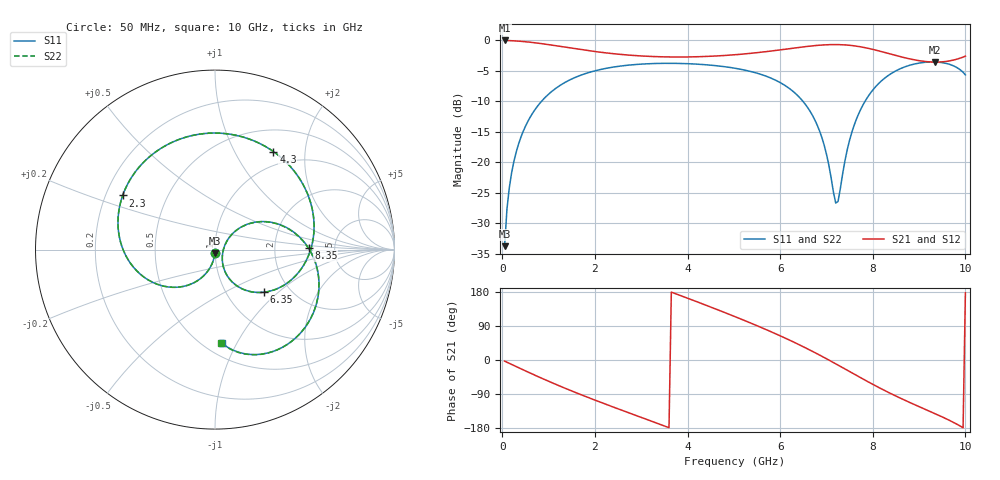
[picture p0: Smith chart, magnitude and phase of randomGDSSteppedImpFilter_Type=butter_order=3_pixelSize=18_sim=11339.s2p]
! freq	dB(S11)	phase(S11)	dB(S12)	phase(S12)
!  dB(S21)	phase(S21)	dB(S22)	phase(S22)
!S-par simulation data
#  GHz  S  DB  R 50
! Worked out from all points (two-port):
!   200 points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, 50 MHz to 10 GHz, reference 50 ohm
!   highest |S21| = 0.00 dB at 50 MHz (marker M1); lowest = -3.5 dB at 9.35 GHz (marker M2)
!   |S21| within 3 dB of the highest: start of sweep to 8.786 GHz; 9.846 GHz to end of sweep
!   lowest |S11| = -33.7 dB at 50 MHz (marker M3), VSWR 1.04, Z = 49.9 - j2.05 ohm
!   |S11| at or under -10 dB: start of sweep to 844.9 MHz; 6.494 GHz to 7.832 GHz (1.338 GHz wide, 18.7 % of centre)
!   |S22| runs from -33.7 to -3.5 dB; largest |S21 - S12| = 0
!   S11 on the Smith chart (normalised r, x): 50 MHz: 1.00, -0.04; 2.3 GHz: 0.27, +0.25; 4.3 GHz: 0.79, +1.45; 6.35 GHz: 1.49, -0.81; 8.35 GHz: 3.17, +0.08; 10 GHz: 0.61, -0.87
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0.05  -33.72 -92.9  -0.00 -2.9  -0.00 -2.9  -33.72 -92.9
0.1  -27.71 -96.0  -0.01 -5.9  -0.01 -5.9  -27.71 -96.0
0.2  -21.75 -102.0  -0.05 -11.6  -0.05 -11.6  -21.75 -102.0
0.5  -14.07 -119.3  -0.21 -28.7  -0.21 -28.7  -14.07 -119.3
1.1  -8.17 -152.0  -0.80 -61.4  -0.80 -61.4  -8.17 -152.0
1.75  -5.55 175.4  -1.55 -93.9  -1.55 -93.9  -5.55 175.4
2.3  -4.49 149.6  -2.09 -119.8  -2.09 -119.8  -4.49 149.6
3.4  -3.76 100.0  -2.68 -169.5  -2.68 -169.5  -3.76 99.9
4.3  -3.93 59.2  -2.65 149.2  -2.65 149.2  -3.93 59.1
5.05  -4.59 24.0  -2.33 113.2  -2.33 113.2  -4.59 23.9
5.75  -6.01 -10.3  -1.79 77.4  -1.79 77.4  -6.01 -10.4
6.35  -8.83 -41.0  -1.20 43.9  -1.20 43.9  -8.83 -41.1
6.7  -12.32 -58.1  -0.89 22.7  -0.89 22.7  -12.32 -58.2
6.95  -17.15 -65.5  -0.73 6.6  -0.73 6.6  -17.15 -65.6
7.2  -26.65 -23.0  -0.68 -10.1  -0.68 -10.1  -26.62 -23.0
7.65  -12.84 38.3  -0.94 -40.8  -0.94 -40.8  -12.84 38.1
8  -8.14 20.5  -1.47 -64.2  -1.47 -64.2  -8.14 20.3
8.35  -5.66 1.0  -2.16 -86.2  -2.16 -86.2  -5.66 0.8
8.85  -3.96 -25.5  -3.11 -115.0  -3.11 -115.0  -3.96 -25.7
9.35  -3.53 -50.4  -3.55 -141.9  -3.55 -141.9  -3.54 -50.6
9.7  -4.03 -68.4  -3.29 -162.0  -3.29 -162.0  -4.03 -68.7
10  -5.65 -85.7  -2.57 177.2  -2.57 177.2  -5.66 -86.2
